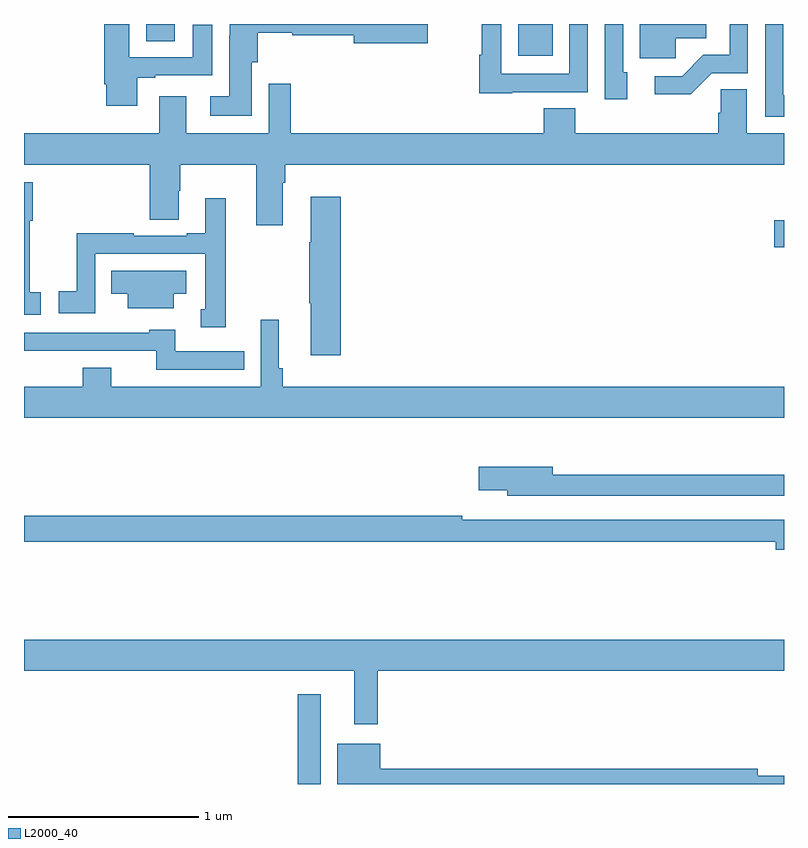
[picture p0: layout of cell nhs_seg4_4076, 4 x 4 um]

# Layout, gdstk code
import gdstk
lib = gdstk.Library(unit=1e-6, precision=1e-09)
def R(c, l, rs):  # rectangles x0, y0, x1, y1
    for r in rs: c.add(gdstk.rectangle(r[:2], r[2:], *l))
def P(c, l, *ps):  # polygons
    for p in ps: c.add(gdstk.Polygon(p, *l))
L2000_40 = (2000, 40)

nhs_seg4_4076 = lib.new_cell('nhs_seg4_4076')
R(nhs_seg4_4076, L2000_40, [(328.44,786.9,328.561,787.372), (330.948,789.725,331,789.867), (329.6,790.733,329.782,790.9), (327.644,790.81,327.793,790.9)])
P(nhs_seg4_4076, L2000_40, [(328.198,790.698),(328.229,790.698),(328.229,790.855),(328.412,790.855),(328.412,790.84),(328.736,790.84),(328.736,790.798),(329.125,790.798),(329.125,790.9),(328.083,790.9),(328.083,790.838),(328.079,790.838),(328.079,790.519),(327.981,790.519),(327.981,790.418),(328.198,790.418)],
  [(327.595,790.617),(327.691,790.617),(327.691,790.629),(327.991,790.629),(327.991,790.897),(327.887,790.897),(327.887,790.725),(327.553,790.725),(327.553,790.9),(327.422,790.9),(327.422,790.582),(327.434,790.582),(327.434,790.47),(327.595,790.47)],
  [(330.175,790.647),(330.153,790.647),(330.153,790.9),(330.057,790.9),(330.057,790.503),(330.175,790.503)],
  [(331,790.524),(330.997,790.524),(330.997,790.9),(330.9,790.9),(330.9,790.413),(331,790.413)],
  [(329.571,790.542),(329.967,790.542),(329.967,790.9),(329.871,790.9),(329.871,790.638),(329.511,790.638),(329.511,790.9),(329.41,790.9),(329.41,790.739),(329.395,790.739),(329.395,790.535),(329.571,790.535)],
  [(330.621,790.641),(330.81,790.641),(330.81,790.9),(330.714,790.9),(330.714,790.737),(330.576,790.737),(330.465,790.626),(330.321,790.626),(330.321,790.529),(330.508,790.529)],
  [(330.429,790.826),(330.592,790.826),(330.592,790.9),(330.242,790.9),(330.242,790.719),(330.429,790.719)],
  [(328.363,790.064),(328.376,790.064),(328.376,790.16),(331,790.16),(331,790.324),(330.805,790.324),(330.805,790.556),(330.666,790.556),(330.666,790.433),(330.653,790.433),(330.653,790.324),(329.9,790.324),(329.9,790.457),(329.735,790.457),(329.735,790.324),(328.403,790.324),(328.403,790.585),(328.287,790.585),(328.287,790.324),(327.853,790.324),(327.853,790.519),(327.713,790.519),(327.713,790.324),(327,790.324),(327,790.16),(327.662,790.16),(327.662,789.871),(327.814,789.871),(327.814,790.022),(327.822,790.022),(327.822,790.16),(328.223,790.16),(328.223,789.84),(328.363,789.84)],
  [(327.088,789.489),(327.03,789.489),(327.03,789.865),(327.047,789.865),(327.047,790.068),(327,790.068),(327,789.369),(327.088,789.369)],
  [(328.667,789.991),(328.508,789.991),(328.508,789.752),(328.501,789.752),(328.501,789.43),(328.508,789.43),(328.508,789.156),(328.667,789.156)],
  [(328.063,789.982),(327.953,789.982),(327.953,789.799),(327.857,789.799),(327.857,789.786),(327.578,789.786),(327.578,789.799),(327.277,789.799),(327.277,789.494),(327.183,789.494),(327.183,789.378),(327.375,789.378),(327.375,789.69),(327.954,789.69),(327.954,789.399),(327.929,789.399),(327.929,789.305),(328.063,789.305)],
  [(327.787,789.479),(327.853,789.479),(327.853,789.601),(327.46,789.601),(327.46,789.479),(327.545,789.479),(327.545,789.404),(327.787,789.404)],
  [(331,788.992),(328.361,788.992),(328.361,789.088),(328.342,789.088),(328.342,789.343),(328.245,789.343),(328.245,788.992),(327.46,788.992),(327.46,789.091),(327.308,789.091),(327.308,788.992),(327,788.992),(327,788.828),(331,788.828)],
  [(328.16,789.177),(327.796,789.177),(327.796,789.292),(327.66,789.292),(327.66,789.276),(327,789.276),(327,789.179),(327.224,789.179),(327.224,789.18),(327.697,789.18),(327.697,789.081),(328.16,789.081)],
  [(331,788.527),(329.782,788.527),(329.782,788.569),(329.394,788.569),(329.394,788.447),(329.543,788.447),(329.543,788.418),(331,788.418)],
  [(331,788.292),(329.306,788.292),(329.306,788.312),(327,788.312),(327,788.176),(330.956,788.176),(330.956,788.134),(331,788.134)],
  [(328.861,787.496),(331,787.496),(331,787.66),(327,787.66),(327,787.496),(328.739,787.496),(328.739,787.215),(328.861,787.215)],
  [(331,786.944),(330.862,786.944),(330.862,786.98),(328.876,786.98),(328.876,787.111),(328.649,787.111),(328.649,786.9),(331,786.9)])

lib.write_gds('nhs_seg4_4076.gds')
